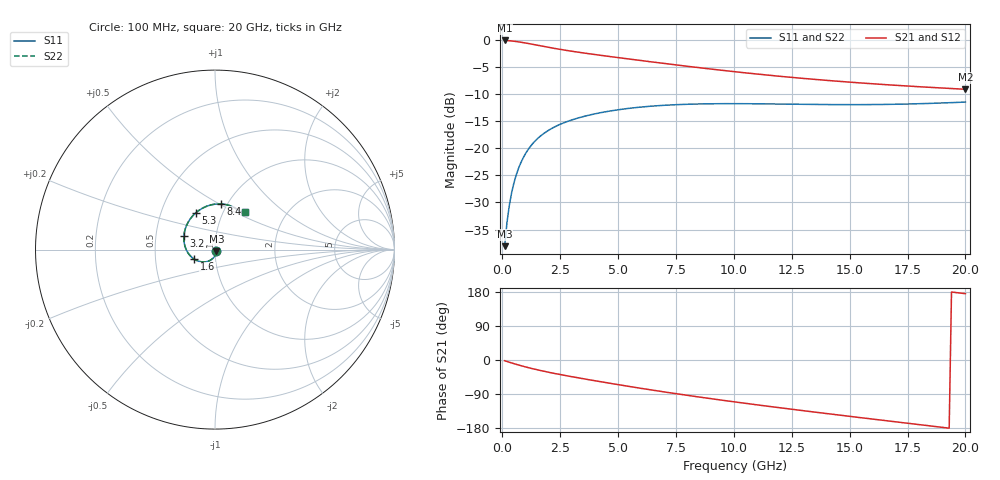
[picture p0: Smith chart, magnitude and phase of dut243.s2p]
! Touchstone file exported from HFSS 2023.1.0
!  File:  D:/Users/fzz/RDL_TSV/temp_RDL_TSV_243_1778759482.aedt
!  Generated:  8:01:48 %x4E0B%x5348  5%x6708 14, 2026
!  Design:  RDL_TSV
!  Project:  temp_RDL_TSV_243_1778759482
!  Setup:  Setup1
!  Solution:  Sweep
! Variables:
!  dtsv = 14.61um
!  hbump = 3um
!  htsv = 97.8um
!  ldown = 154.71um
!  lrdl = 456.06um
!  p = 40
!  p1 = 53.15um
!  rhole = 10um
!  subl = 2288.37um
!  t = 450um
!  tdown = 3.53um
!  trdl = 3.92um
!  viad = 10um
!  wdown = 23.94um
!  wrdl = 29.11um
!  xbump = 18um
# GHz S MA R 50.000000
! Terminal data exported
! Port[1] = TM1_1_T1
! Port[2] = TM1_4_T1
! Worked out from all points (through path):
!   200 points, 100 MHz to 20 GHz, reference 50 ohm
!   highest |S21| = -0.08 dB at 100 MHz (marker M1); lowest = -9.1 dB at 20 GHz (marker M2)
!   group delay of S21, straight-line fit = 24 ps
!   lowest |S11| = -38.1 dB at 100 MHz (marker M3), VSWR 1.03, Z = 50.8 - j0.987 ohm
!   |S11| at or under -10 dB: start of sweep to end of sweep
!   |S22| runs from -38.1 to -11.4 dB; largest |S21 - S12| = 9.8e-15
!   S11 on the Smith chart (normalised r, x): 100 MHz: 1.02, -0.02; 1.6 GHz: 0.79, -0.09; 3.2 GHz: 0.70, +0.11; 5.3 GHz: 0.75, +0.33; 8.4 GHz: 0.94, +0.51; 20 GHz: 1.27, +0.56
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0.1  0.01249 -51.1  0.9907 -2.0  0.9907 -2.0  0.01249 -51.1
! Gamma 0 0 0 0
! Port Impedance 50 0 50 0
0.2  0.02046 -73.1  0.9882 -4.0  0.9882 -4.0  0.02046 -73.1
0.3  0.02942 -85.3  0.9846 -5.9  0.9846 -5.9  0.02942 -85.3
0.4  0.03861 -94.2  0.9801 -7.8  0.9801 -7.8  0.0386 -94.2
0.5  0.04773 -101.6  0.9748 -9.6  0.9748 -9.6  0.04772 -101.6
0.6  0.05664 -108.1  0.9687 -11.4  0.9687 -11.4  0.05664 -108.1
0.8  0.07356 -119.5  0.9547 -14.9  0.9547 -14.9  0.07357 -119.5
1  0.0891 -129.7  0.9388 -18.2  0.9388 -18.2  0.0891 -129.7
1.3  0.1097 -143.2  0.9133 -22.8  0.9133 -22.8  0.1097 -143.2
1.6  0.1273 -155.3  0.8876 -27.1  0.8876 -27.1  0.1273 -155.3
2.3  0.1592 -179.1  0.8331 -36.0  0.8331 -36.0  0.1593 -179.1
3.2  0.1885 156.8  0.7762 -46.2  0.7762 -46.2  0.1886 156.7
3.5  0.1965 149.9  0.7597 -49.5  0.7597 -49.5  0.1966 149.8
4.4  0.2164 131.9  0.715 -58.9  0.715 -58.9  0.2165 131.8
5.3  0.2315 117.0  0.6749 -68.0  0.6749 -68.0  0.2318 117.0
6.8  0.2482 97.6  0.6146 -82.4  0.6146 -82.4  0.2485 97.6
8.4  0.2565 82.3  0.5585 -96.8  0.5585 -96.8  0.2569 82.3
10.1  0.2584 70.7  0.508 -111.1  0.508 -111.1  0.2588 70.7
11.7  0.2567 63.1  0.4687 -123.8  0.4687 -123.8  0.2571 63.1
13.4  0.2542 57.7  0.4346 -136.8  0.4346 -136.8  0.2546 57.7
16.7  0.2545 52.7  0.3853 -161.1  0.3853 -161.1  0.2549 52.8
20  0.2674 50.8  0.3509 175.1  0.3509 175.1  0.2678 50.9
